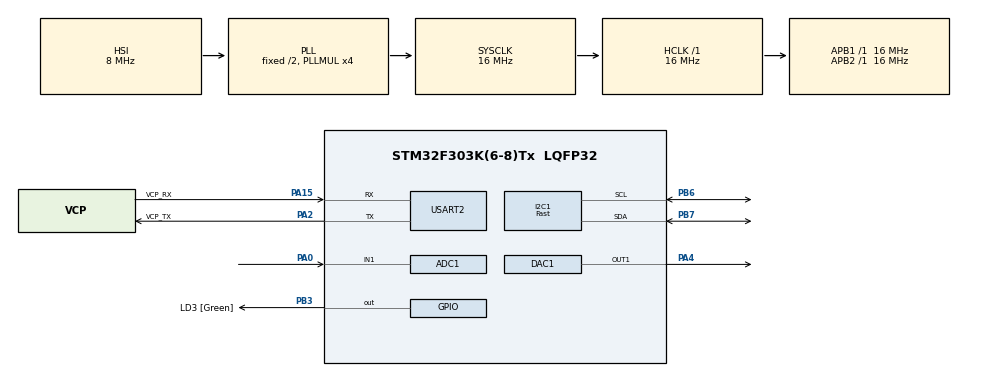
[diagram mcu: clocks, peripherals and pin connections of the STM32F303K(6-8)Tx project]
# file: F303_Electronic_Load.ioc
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ADC1.Channel-0\#ChannelRegularConversion=ADC_CHANNEL_1
ADC1.NbrOfConversionFlag=1
ADC1.Offset-0\#ChannelRegularConversion=0
ADC1.OffsetNumber-0\#ChannelRegularConversion=ADC_OFFSET_NONE
ADC1.Rank-0\#ChannelRegularConversion=1
ADC1.SamplingTime-0\#ChannelRegularConversion=ADC_SAMPLETIME_1CYCLE_5
ADC1.SubFamily=STM32F303x8
ADC1.master=1
I2C1.I2C_Speed_Mode=I2C_Fast
I2C1.Timing=0x0000020B
Mcu.Family=STM32F3
Mcu.Name=STM32F303K(6-8)Tx
Mcu.Package=LQFP32
NVIC.PriorityGroup=NVIC_PRIORITYGROUP_4
NVIC.TIM2_IRQn=true\:0\:0\:false\:false\:true\:true\:true
NVIC.TIM3_IRQn=true\:0\:0\:false\:false\:true\:true\:true
PA0.Mode=IN1-Single-Ended
PA0.Signal=ADC1_IN1
PA13.GPIO_Label=SWDIO
PA13.Mode=Serial_Wire
PA13.Signal=SYS_JTMS-SWDIO
PA14.GPIO_Label=SWCLK
PA14.Mode=Serial_Wire
PA14.Signal=SYS_JTCK-SWCLK
PA15.GPIO_Label=VCP_RX
PA15.Mode=Asynchronous
PA15.Signal=USART2_RX
PA2.GPIO_Label=VCP_TX
PA2.Mode=Asynchronous
PA2.Signal=USART2_TX
PA4.Signal=COMP_DAC11_group
PB3.GPIO_Label=LD3 [Green]
PB3.Signal=GPIO_Output
PB6.Mode=I2C
PB6.Signal=I2C1_SCL
PB7.Mode=I2C
PB7.Signal=I2C1_SDA
PF0\ /\ OSC_IN.GPIO_Label=MCO
PF0\ /\ OSC_IN.Mode=HSE-External-Oscillator
PF0\ /\ OSC_IN.Signal=RCC_OSC_IN
PF1\ /\ OSC_OUT.Mode=HSE-External-Oscillator
PF1\ /\ OSC_OUT.Signal=RCC_OSC_OUT
ProjectManager.HeapSize=0x200
ProjectManager.StackSize=0x400
ProjectManager.TargetToolchain=STM32CubeIDE
RCC.AHBFreq_Value=16000000
RCC.APB1Freq_Value=16000000
RCC.APB1TimFreq_Value=16000000
RCC.APB2Freq_Value=16000000
RCC.APB2TimFreq_Value=16000000
RCC.CortexFreq_Value=16000000
RCC.HCLKFreq_Value=16000000
RCC.HSE_VALUE=8000000
RCC.HSI_VALUE=8000000
RCC.PLLMUL=RCC_PLL_MUL4
RCC.SYSCLKFreq_VALUE=16000000
RCC.SYSCLKSourceVirtual=RCC_SYSCLKSOURCE_PLLCLK
SH.COMP_DAC11_group.0=DAC1_OUT1,DAC_OUT1
TIM2.Period=19
TIM2.Prescaler=1599
TIM3.Period=199
TIM3.Prescaler=15999
USART2.VirtualMode-Asynchronous=VM_ASYNC
VP_TIM2_VS_ClockSourceINT.Mode=Internal
VP_TIM3_VS_ClockSourceINT.Mode=Internal
board=NUCLEO-F303K8

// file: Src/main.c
/* USER CODE BEGIN Header */
/**
  ******************************************************************************
  * @file           : main.c
  * @brief          : Main program body
  ******************************************************************************
  * @attention
  *
  * <h2><center>&copy; Copyright (c) 2019 STMicroelectronics.
  * All rights reserved.</center></h2>
  *
  * This software component is licensed by ST under BSD 3-Clause license,
  * the "License"; You may not use this file except in compliance with the
  * License. You may obtain a copy of the License at:
  *                        opensource.org/licenses/BSD-3-Clause
  *
  ******************************************************************************
  */
/* USER CODE END Header */

#include "main.h"

/* USER CODE BEGIN Includes */
#include "ssd1306.h"
#include "math.h"
#include  "print_UART.h"
/* USER CODE END Includes */

ADC_HandleTypeDef hadc1;

DAC_HandleTypeDef hdac1;

I2C_HandleTypeDef hi2c1;

TIM_HandleTypeDef htim2;
TIM_HandleTypeDef htim3;

UART_HandleTypeDef huart2;

/* USER CODE BEGIN PV */
uint16_t rawValues[200] ;
static double voltage_adc = 0;
static double raw_adc = 0;
static double factor = 0;

//Fourier
static double a0;
static double a1;
static double b1;
static double a2;
static double b2;
static double w;
//Exponential
static double a1 = 0;
static double b1 = 0;
static double c1 = 0;
static double d1 = 0;
/* USER CODE END PV */

void SystemClock_Config(void);
static void MX_GPIO_Init(void);
static void MX_USART2_UART_Init(void);
static void MX_ADC1_Init(void);
static void MX_DAC1_Init(void);
static void MX_I2C1_Init(void);
static void MX_TIM2_Init(void);
static void MX_TIM3_Init(void);
/* USER CODE BEGIN PFP */
void check_ADC(ADC_HandleTypeDef *hadc, uint16_t *pData, uint16_t Size);
double factor_correct(double adc_raw);
/* USER CODE END PFP */

int main(void)
{

  /* MCU Configuration--------------------------------------------------------*/

  /* Reset of all peripherals, Initializes the Flash interface and the Systick. */
  HAL_Init();

  /* Configure the system clock */
  SystemClock_Config();

  /* Initialize all configured peripherals */
  MX_GPIO_Init();
  MX_USART2_UART_Init();
  MX_ADC1_Init();
  MX_DAC1_Init();
  MX_I2C1_Init();
  MX_TIM2_Init();
  MX_TIM3_Init();
  /* USER CODE BEGIN 2 */
  set_oled_addr(0x78);
  ssd1306_sel_I2C(&hi2c1);
  SSD1306_Init ();

HAL_TIM_Base_Start_IT(&htim2);
HAL_TIM_Base_Start_IT(&htim3);
  /* USER CODE END 2 */

  /* Infinite loop */
  while (1)
  {

  }
}

void SystemClock_Config(void)
{
  RCC_OscInitTypeDef RCC_OscInitStruct = {0};
  RCC_ClkInitTypeDef RCC_ClkInitStruct = {0};
  RCC_PeriphCLKInitTypeDef PeriphClkInit = {0};

  /** Initializes the CPU, AHB and APB busses clocks
  */
  RCC_OscInitStruct.OscillatorType = RCC_OSCILLATORTYPE_HSI;
  RCC_OscInitStruct.HSIState = RCC_HSI_ON;
  RCC_OscInitStruct.HSICalibrationValue = RCC_HSICALIBRATION_DEFAULT;
  RCC_OscInitStruct.PLL.PLLState = RCC_PLL_ON;
  RCC_OscInitStruct.PLL.PLLSource = RCC_PLLSOURCE_HSI;
  RCC_OscInitStruct.PLL.PLLMUL = RCC_PLL_MUL4;
  if (HAL_RCC_OscConfig(&RCC_OscInitStruct) != HAL_OK)
  {
    Error_Handler();
  }
  /** Initializes the CPU, AHB and APB busses clocks
  */
  RCC_ClkInitStruct.ClockType = RCC_CLOCKTYPE_HCLK|RCC_CLOCKTYPE_SYSCLK
                              |RCC_CLOCKTYPE_PCLK1|RCC_CLOCKTYPE_PCLK2;
  RCC_ClkInitStruct.SYSCLKSource = RCC_SYSCLKSOURCE_PLLCLK;
  RCC_ClkInitStruct.AHBCLKDivider = RCC_SYSCLK_DIV1;
  RCC_ClkInitStruct.APB1CLKDivider = RCC_HCLK_DIV1;
  RCC_ClkInitStruct.APB2CLKDivider = RCC_HCLK_DIV1;

  if (HAL_RCC_ClockConfig(&RCC_ClkInitStruct, FLASH_LATENCY_0) != HAL_OK)
  {
    Error_Handler();
  }
  PeriphClkInit.PeriphClockSelection = RCC_PERIPHCLK_I2C1|RCC_PERIPHCLK_ADC12;
  PeriphClkInit.Adc12ClockSelection = RCC_ADC12PLLCLK_DIV1;
  PeriphClkInit.I2c1ClockSelection = RCC_I2C1CLKSOURCE_HSI;
  if (HAL_RCCEx_PeriphCLKConfig(&PeriphClkInit) != HAL_OK)
  {
    Error_Handler();
  }
}

static void MX_ADC1_Init(void)
{

  ADC_MultiModeTypeDef multimode = {0};
  ADC_ChannelConfTypeDef sConfig = {0};

  /** Common config
  */
  hadc1.Instance = ADC1;
  hadc1.Init.ClockPrescaler = ADC_CLOCK_ASYNC_DIV1;
  hadc1.Init.Resolution = ADC_RESOLUTION_12B;
  hadc1.Init.ScanConvMode = ADC_SCAN_DISABLE;
  hadc1.Init.ContinuousConvMode = DISABLE;
  hadc1.Init.DiscontinuousConvMode = DISABLE;
  hadc1.Init.ExternalTrigConvEdge = ADC_EXTERNALTRIGCONVEDGE_NONE;
  hadc1.Init.ExternalTrigConv = ADC_SOFTWARE_START;
  hadc1.Init.DataAlign = ADC_DATAALIGN_RIGHT;
  hadc1.Init.NbrOfConversion = 1;
  hadc1.Init.DMAContinuousRequests = DISABLE;
  hadc1.Init.EOCSelection = ADC_EOC_SINGLE_CONV;
  hadc1.Init.LowPowerAutoWait = DISABLE;
  hadc1.Init.Overrun = ADC_OVR_DATA_OVERWRITTEN;
  if (HAL_ADC_Init(&hadc1) != HAL_OK)
  {
    Error_Handler();
  }
  /** Configure the ADC multi-mode
  */
  multimode.Mode = ADC_MODE_INDEPENDENT;
  if (HAL_ADCEx_MultiModeConfigChannel(&hadc1, &multimode) != HAL_OK)
  {
    Error_Handler();
  }
  /** Configure Regular Channel
  */
  sConfig.Channel = ADC_CHANNEL_1;
  sConfig.Rank = ADC_REGULAR_RANK_1;
  sConfig.SingleDiff = ADC_SINGLE_ENDED;
  sConfig.SamplingTime = ADC_SAMPLETIME_1CYCLE_5;
  sConfig.OffsetNumber = ADC_OFFSET_NONE;
  sConfig.Offset = 0;
  if (HAL_ADC_ConfigChannel(&hadc1, &sConfig) != HAL_OK)
  {
    Error_Handler();
  }

}

static void MX_DAC1_Init(void)
{

  DAC_ChannelConfTypeDef sConfig = {0};

  /** DAC Initialization
  */
  hdac1.Instance = DAC1;
  if (HAL_DAC_Init(&hdac1) != HAL_OK)
  {
    Error_Handler();
  }
  /** DAC channel OUT1 config
  */
  sConfig.DAC_Trigger = DAC_TRIGGER_NONE;
  sConfig.DAC_OutputBuffer = DAC_OUTPUTBUFFER_ENABLE;
  if (HAL_DAC_ConfigChannel(&hdac1, &sConfig, DAC_CHANNEL_1) != HAL_OK)
  {
    Error_Handler();
  }

}

static void MX_I2C1_Init(void)
{

  hi2c1.Instance = I2C1;
  hi2c1.Init.Timing = 0x0000020B;
  hi2c1.Init.OwnAddress1 = 0;
  hi2c1.Init.AddressingMode = I2C_ADDRESSINGMODE_7BIT;
  hi2c1.Init.DualAddressMode = I2C_DUALADDRESS_DISABLE;
  hi2c1.Init.OwnAddress2 = 0;
  hi2c1.Init.OwnAddress2Masks = I2C_OA2_NOMASK;
  hi2c1.Init.GeneralCallMode = I2C_GENERALCALL_DISABLE;
  hi2c1.Init.NoStretchMode = I2C_NOSTRETCH_DISABLE;
  if (HAL_I2C_Init(&hi2c1) != HAL_OK)
  {
    Error_Handler();
  }
  /** Configure Analogue filter
  */
  if (HAL_I2CEx_ConfigAnalogFilter(&hi2c1, I2C_ANALOGFILTER_ENABLE) != HAL_OK)
  {
    Error_Handler();
  }
  /** Configure Digital filter
  */
  if (HAL_I2CEx_ConfigDigitalFilter(&hi2c1, 0) != HAL_OK)
  {
    Error_Handler();
  }

}

static void MX_TIM2_Init(void)
{

  TIM_ClockConfigTypeDef sClockSourceConfig = {0};
  TIM_MasterConfigTypeDef sMasterConfig = {0};

  htim2.Instance = TIM2;
  htim2.Init.Prescaler = 1599;
  htim2.Init.CounterMode = TIM_COUNTERMODE_UP;
  htim2.Init.Period = 19;
  htim2.Init.ClockDivision = TIM_CLOCKDIVISION_DIV1;
  htim2.Init.AutoReloadPreload = TIM_AUTORELOAD_PRELOAD_DISABLE;
  if (HAL_TIM_Base_Init(&htim2) != HAL_OK)
  {
    Error_Handler();
  }
  sClockSourceConfig.ClockSource = TIM_CLOCKSOURCE_INTERNAL;
  if (HAL_TIM_ConfigClockSource(&htim2, &sClockSourceConfig) != HAL_OK)
  {
    Error_Handler();
  }
  sMasterConfig.MasterOutputTrigger = TIM_TRGO_RESET;
  sMasterConfig.MasterSlaveMode = TIM_MASTERSLAVEMODE_DISABLE;
  if (HAL_TIMEx_MasterConfigSynchronization(&htim2, &sMasterConfig) != HAL_OK)
  {
    Error_Handler();
  }

}

static void MX_TIM3_Init(void)
{

  TIM_ClockConfigTypeDef sClockSourceConfig = {0};
  TIM_MasterConfigTypeDef sMasterConfig = {0};

  htim3.Instance = TIM3;
  htim3.Init.Prescaler = 15999;
  htim3.Init.CounterMode = TIM_COUNTERMODE_UP;
  htim3.Init.Period = 199;
  htim3.Init.ClockDivision = TIM_CLOCKDIVISION_DIV1;
  htim3.Init.AutoReloadPreload = TIM_AUTORELOAD_PRELOAD_DISABLE;
  if (HAL_TIM_Base_Init(&htim3) != HAL_OK)
  {
    Error_Handler();
  }
  sClockSourceConfig.ClockSource = TIM_CLOCKSOURCE_INTERNAL;
  if (HAL_TIM_ConfigClockSource(&htim3, &sClockSourceConfig) != HAL_OK)
  {
    Error_Handler();
  }
  sMasterConfig.MasterOutputTrigger = TIM_TRGO_RESET;
  sMasterConfig.MasterSlaveMode = TIM_MASTERSLAVEMODE_DISABLE;
  if (HAL_TIMEx_MasterConfigSynchronization(&htim3, &sMasterConfig) != HAL_OK)
  {
    Error_Handler();
  }

}

static void MX_USART2_UART_Init(void)
{

  huart2.Instance = USART2;
  huart2.Init.BaudRate = 38400;
  huart2.Init.WordLength = UART_WORDLENGTH_8B;
  huart2.Init.StopBits = UART_STOPBITS_1;
  huart2.Init.Parity = UART_PARITY_NONE;
  huart2.Init.Mode = UART_MODE_TX_RX;
  huart2.Init.HwFlowCtl = UART_HWCONTROL_NONE;
  huart2.Init.OverSampling = UART_OVERSAMPLING_16;
  huart2.Init.OneBitSampling = UART_ONE_BIT_SAMPLE_DISABLE;
  huart2.AdvancedInit.AdvFeatureInit = UART_ADVFEATURE_NO_INIT;
  if (HAL_UART_Init(&huart2) != HAL_OK)
  {
    Error_Handler();
  }

}

static void MX_GPIO_Init(void)
{
  GPIO_InitTypeDef GPIO_InitStruct = {0};

  /* GPIO Ports Clock Enable */
  __HAL_RCC_GPIOF_CLK_ENABLE();
  __HAL_RCC_GPIOA_CLK_ENABLE();
  __HAL_RCC_GPIOB_CLK_ENABLE();

  /*Configure GPIO pin Output Level */
  HAL_GPIO_WritePin(LD3_GPIO_Port, LD3_Pin, GPIO_PIN_RESET);

  /*Configure GPIO pin : LD3_Pin */
  GPIO_InitStruct.Pin = LD3_Pin;
  GPIO_InitStruct.Mode = GPIO_MODE_OUTPUT_PP;
  GPIO_InitStruct.Pull = GPIO_NOPULL;
  GPIO_InitStruct.Speed = GPIO_SPEED_FREQ_LOW;
  HAL_GPIO_Init(LD3_GPIO_Port, &GPIO_InitStruct);

}

/* USER CODE BEGIN 4 */
double factor_correct(double x){
	if ((x < 250) && (x > 40)){
		// Exp aprox
		a1 = 2.239;
		b1 = -0.03095;
		c1 = 1.827;
		d1 = -0.001121;
		return (a1*exp(b1*x) + c1*exp(d1*x))*0.88;

	} else if ((x >=250) && (x<620)){
		// Fourier aprox
		a0 = 1.196;
		a1 = -0.03788;
		b1 = 0.006196;
		a2 = 0.00541;
		b2 = -0.01333;
		w = 0.01085;
		return a0 + a1*cos(x*w) + b1*sin(x*w) +
		            a2*cos(2*x*w) + b2*sin(2*x*w);
	} else if ((x >= 620) && (x < 1200)) {
		a1 = 1.21;
		b1 = -0.0001777;
		c1 = 0.03541;
		d1 = 0.001033;
		return (a1*exp(b1*x) + c1*exp(d1*x))*1.003;
	} else {
		return 1;
	}

}

void check_ADC(ADC_HandleTypeDef *hadc, uint16_t *pData, uint16_t Size){
	static uint8_t index_adc = 0;
	static double processed_adc = 0;
	double data_adc = 0;

	HAL_ADC_Start(&hadc1);
	HAL_ADC_PollForConversion(&hadc1, 1000);
	pData[index_adc] = HAL_ADC_GetValue(&hadc1);
	HAL_ADC_Stop(&hadc1);
	data_adc = pData[index_adc]*3300/4095;
	processed_adc += data_adc;
	index_adc++;

	if (index_adc >= Size ){
		processed_adc = processed_adc/Size;
		raw_adc = processed_adc;

		factor = factor_correct(processed_adc);
		processed_adc = processed_adc*factor;
		processed_adc = processed_adc/10;
		raw_adc = raw_adc/10;

		processed_adc = round(processed_adc);
		raw_adc = round(raw_adc);

		processed_adc = processed_adc*10;
		raw_adc = raw_adc*10;

		voltage_adc = processed_adc;
		index_adc = 0;
		processed_adc = 0;
		HAL_GPIO_TogglePin(GPIOC, GPIO_PIN_13);
	}
}

void HAL_TIM_PeriodElapsedCallback(TIM_HandleTypeDef *htim){
	if (htim == &htim2){
		static uint8_t ready_2 = 0;
		if (ready_2 == 1){
			 check_ADC(&hadc1, rawValues, 200);
		}
		ready_2 = 1;
	}

	if (htim == &htim3){
		static uint8_t ready_3 = 0;
		if (ready_3 == 1){
			SSD1306_Putdouble(voltage_adc, 1, 1);
			SSD1306_Putdouble(raw_adc, 1, 2);
			SSD1306_Putdouble(factor, 4, 3);
			SSD1306_UpdateScreen();
		}
		ready_3 = 1;
	}
}
/* USER CODE END 4 */

void Error_Handler(void)
{
}

/************************ (C) COPYRIGHT STMicroelectronics *****END OF FILE****/
